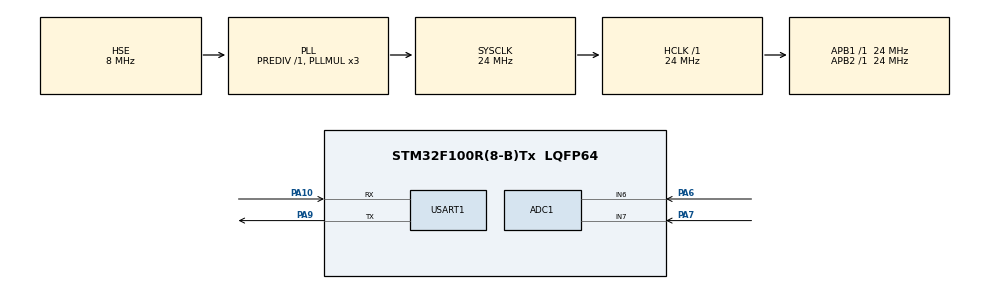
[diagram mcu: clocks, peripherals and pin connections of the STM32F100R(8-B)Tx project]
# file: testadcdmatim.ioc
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ADC1.Channel-1\#ChannelRegularConversion=ADC_CHANNEL_6
ADC1.Channel-2\#ChannelRegularConversion=ADC_CHANNEL_7
ADC1.EnableInjectedConversion=ENABLE
ADC1.EnableRegularConversion=ENABLE
ADC1.ExternalTrigConv=ADC_EXTERNALTRIGCONV_T3_TRGO
ADC1.NbrOfConversion=2
ADC1.NbrOfConversionFlag=1
ADC1.Rank-1\#ChannelRegularConversion=1
ADC1.Rank-2\#ChannelRegularConversion=2
ADC1.SamplingTime-1\#ChannelRegularConversion=ADC_SAMPLETIME_7CYCLES_5
ADC1.SamplingTime-2\#ChannelRegularConversion=ADC_SAMPLETIME_7CYCLES_5
ADC1.master=1
Dma.ADC1.0.Direction=DMA_PERIPH_TO_MEMORY
Dma.ADC1.0.Instance=DMA1_Channel1
Dma.ADC1.0.MemDataAlignment=DMA_MDATAALIGN_HALFWORD
Dma.ADC1.0.MemInc=DMA_MINC_ENABLE
Dma.ADC1.0.Mode=DMA_CIRCULAR
Dma.ADC1.0.PeriphDataAlignment=DMA_PDATAALIGN_HALFWORD
Dma.ADC1.0.PeriphInc=DMA_PINC_DISABLE
Dma.ADC1.0.Priority=DMA_PRIORITY_LOW
Dma.Request0=ADC1
Mcu.Family=STM32F1
Mcu.Name=STM32F100R(8-B)Tx
Mcu.Package=LQFP64
NVIC.DMA1_Channel1_IRQn=true\:0\:0\:false\:false\:true\:false\:true\:true
NVIC.PriorityGroup=NVIC_PRIORITYGROUP_4
NVIC.TIM3_IRQn=true\:0\:0\:false\:false\:true\:true\:true\:true
PA10.Mode=Asynchronous
PA10.Signal=USART1_RX
PA6.Signal=ADCx_IN6
PA7.Signal=ADCx_IN7
PA9.Mode=Asynchronous
PA9.Signal=USART1_TX
PC14-OSC32_IN.Mode=LSE-External-Oscillator
PC14-OSC32_IN.Signal=RCC_OSC32_IN
PC15-OSC32_OUT.Mode=LSE-External-Oscillator
PC15-OSC32_OUT.Signal=RCC_OSC32_OUT
PD0-OSC_IN.Mode=HSE-External-Oscillator
PD0-OSC_IN.Signal=RCC_OSC_IN
PD1-OSC_OUT.Mode=HSE-External-Oscillator
PD1-OSC_OUT.Signal=RCC_OSC_OUT
ProjectManager.HeapSize=0x200
ProjectManager.StackSize=0x400
ProjectManager.TargetToolchain=EWARM V8
RCC.AHBFreq_Value=24000000
RCC.APB1Freq_Value=24000000
RCC.APB1TimFreq_Value=24000000
RCC.APB2Freq_Value=24000000
RCC.APB2TimFreq_Value=24000000
RCC.HCLKFreq_Value=24000000
RCC.PLLMUL=RCC_PLL_MUL3
RCC.PLLSource=RCC_PLLSOURCE_HSE
RCC.SYSCLKFreq_VALUE=24000000
RCC.SYSCLKSource=RCC_SYSCLKSOURCE_PLLCLK
SH.ADCx_IN6.0=ADC1_IN6,IN6
SH.ADCx_IN7.0=ADC1_IN7,IN7
TIM3.AutoReloadPreload=TIM_AUTORELOAD_PRELOAD_ENABLE
TIM3.Period=100-1
TIM3.Prescaler=2400-1
TIM3.TIM_MasterOutputTrigger=TIM_TRGO_UPDATE
TIM3.TIM_MasterSlaveMode=TIM_MASTERSLAVEMODE_DISABLE
USART1.VirtualMode=VM_ASYNC
VP_SYS_VS_ND.Mode=No_Debug
VP_TIM3_VS_ClockSourceINT.Mode=Internal
board=custom

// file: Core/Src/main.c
/* USER CODE BEGIN Header */
/**
  ******************************************************************************
  * @file           : main.c
  * @brief          : Main program body
  ******************************************************************************
  * @attention
  *
  * Copyright (c) 2023 STMicroelectronics.
  * All rights reserved.
  *
  * This software is licensed under terms that can be found in the LICENSE file
  * in the root directory of this software component.
  * If no LICENSE file comes with this software, it is provided AS-IS.
  *
  ******************************************************************************
  */
/* USER CODE END Header */
#include "main.h"
#include "adc.h"
#include "dma.h"
#include "tim.h"
#include "usart.h"
#include "gpio.h"

/* USER CODE BEGIN Includes */
#include <stdio.h>
/* USER CODE END Includes */

/* USER CODE BEGIN PM */
#define PROC_LENGTH     20

/* USER CODE END PM */

/* USER CODE BEGIN PV */

#define ADC_BUFLEN 2
uint16_t adcBuf[ADC_BUFLEN] ={0};   //For ADC samples.

uint8_t ADC_FLAG;
#define TRUE 1
#define FALSE 0
/* USER CODE END PV */

void SystemClock_Config(void);

/* USER CODE BEGIN 0 */
uint16_t strlen(char const *s)
{
	size_t i;

	i= 0;
	while(s[i]) {
		i+= 1;
	}

	return i;
}

/* USER CODE END 0 */

int main(void)
{
  /* USER CODE BEGIN 1 */
  uint32_t current_ticks;
  uint8_t debugstr[PROC_LENGTH] = "XXXXXYYYYYXXXXXYYYY\n";
  int i;                //AO!
  char msgbuf[128];     //AO!

  /* USER CODE END 1 */

  /* MCU Configuration--------------------------------------------------------*/

  /* Reset of all peripherals, Initializes the Flash interface and the Systick. */
  HAL_Init();

  /* Configure the system clock */
  SystemClock_Config();

  /* Initialize all configured peripherals */
  MX_GPIO_Init();
  MX_DMA_Init();
  MX_USART1_UART_Init();
  MX_ADC1_Init();
  MX_TIM3_Init();
  /* USER CODE BEGIN 2 */
  ADC_FLAG = FALSE;
  current_ticks = HAL_GetTick();

  //The link between hadc1 and hdma_adc1 was completed in stm32f1xx_hal_msp.c:
  HAL_ADC_Start_DMA(&hadc1, (uint32_t*)&adcBuf, ADC_BUFLEN); //Link DMA to ADC1

  HAL_TIM_Base_Start_IT(&htim3); //AO!: Start the timer.

  /* USER CODE END 2 */

  /* Infinite loop */
  while (1)
  {

    /* USER CODE BEGIN 3 */
    if(ADC_FLAG)
    {
      ADC_FLAG=FALSE;
      ++i;
      if(HAL_GetTick() - current_ticks >= 1000)
      {
        current_ticks = HAL_GetTick();
        sprintf(msgbuf, "%d: ADC6=%d, ADC7=%d\r\n", i,
                (int)adcBuf[0], (int)adcBuf[1]);
        HAL_UART_Transmit(&huart1, msgbuf, strlen(msgbuf),10);
        i=0;
      }
    }
  }
  /* USER CODE END 3 */
}

void SystemClock_Config(void)
{
  RCC_OscInitTypeDef RCC_OscInitStruct = {0};
  RCC_ClkInitTypeDef RCC_ClkInitStruct = {0};
  RCC_PeriphCLKInitTypeDef PeriphClkInit = {0};

  /** Initializes the RCC Oscillators according to the specified parameters
  * in the RCC_OscInitTypeDef structure.
  */
  RCC_OscInitStruct.OscillatorType = RCC_OSCILLATORTYPE_HSE;
  RCC_OscInitStruct.HSEState = RCC_HSE_ON;
  RCC_OscInitStruct.HSEPredivValue = RCC_HSE_PREDIV_DIV1;
  RCC_OscInitStruct.PLL.PLLState = RCC_PLL_ON;
  RCC_OscInitStruct.PLL.PLLSource = RCC_PLLSOURCE_HSE;
  RCC_OscInitStruct.PLL.PLLMUL = RCC_PLL_MUL3;
  if (HAL_RCC_OscConfig(&RCC_OscInitStruct) != HAL_OK)
  {
    Error_Handler();
  }

  /** Initializes the CPU, AHB and APB buses clocks
  */
  RCC_ClkInitStruct.ClockType = RCC_CLOCKTYPE_HCLK|RCC_CLOCKTYPE_SYSCLK
                              |RCC_CLOCKTYPE_PCLK1|RCC_CLOCKTYPE_PCLK2;
  RCC_ClkInitStruct.SYSCLKSource = RCC_SYSCLKSOURCE_PLLCLK;
  RCC_ClkInitStruct.AHBCLKDivider = RCC_SYSCLK_DIV1;
  RCC_ClkInitStruct.APB1CLKDivider = RCC_HCLK_DIV1;
  RCC_ClkInitStruct.APB2CLKDivider = RCC_HCLK_DIV1;

  if (HAL_RCC_ClockConfig(&RCC_ClkInitStruct, FLASH_LATENCY_0) != HAL_OK)
  {
    Error_Handler();
  }
  PeriphClkInit.PeriphClockSelection = RCC_PERIPHCLK_ADC;
  PeriphClkInit.AdcClockSelection = RCC_ADCPCLK2_DIV2;
  if (HAL_RCCEx_PeriphCLKConfig(&PeriphClkInit) != HAL_OK)
  {
    Error_Handler();
  }
}

/* USER CODE BEGIN 4 */
void HAL_ADC_ConvCpltCallback(ADC_HandleTypeDef* hadc1){

  ADC_FLAG=TRUE;
}

/* USER CODE END 4 */

void Error_Handler(void)
{
  __disable_irq();
  while (1)
  {
  }
}
